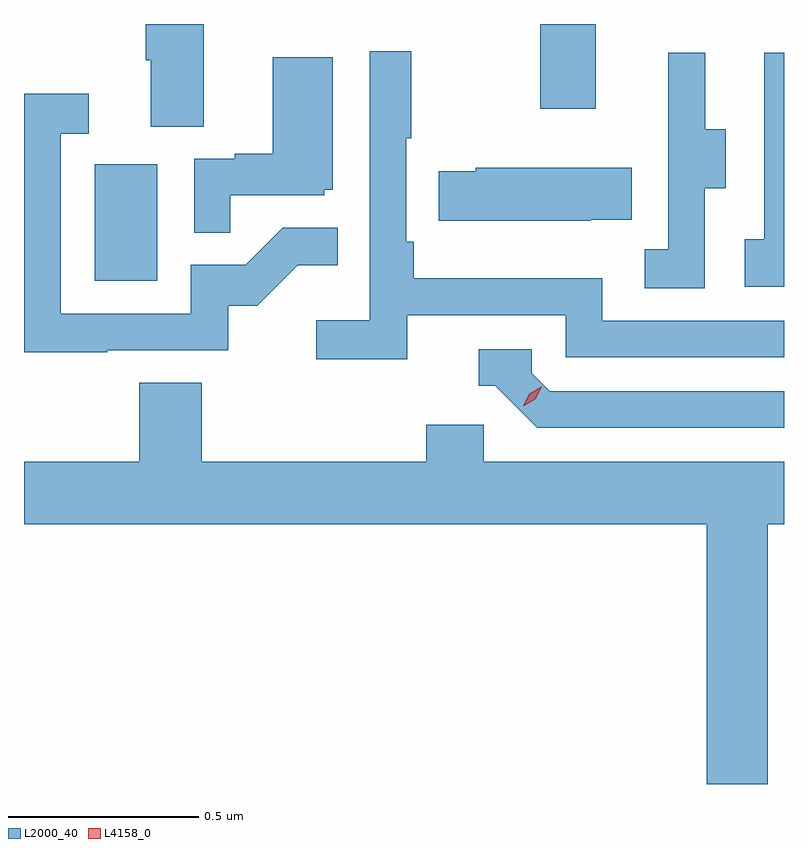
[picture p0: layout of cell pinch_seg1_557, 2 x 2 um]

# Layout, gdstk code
import gdstk
lib = gdstk.Library(unit=1e-6, precision=1e-09)
def R(c, l, rs):  # rectangles x0, y0, x1, y1
    for r in rs: c.add(gdstk.rectangle(r[:2], r[2:], *l))
def P(c, l, *ps):  # polygons
    for p in ps: c.add(gdstk.Polygon(p, *l))
L2000_40 = (2000, 40)
L4158_0 = (4158, 0)

pinch_seg1_557 = lib.new_cell('pinch_seg1_557')
R(pinch_seg1_557, L2000_40, [(1037.114,528.396,1037.278,528.703), (1038.286,528.849,1038.433,529.072)])
P(pinch_seg1_557, L2000_40, [(1037.401,529.072),(1037.249,529.072),(1037.249,528.976),(1037.261,528.976),(1037.261,528.802),(1037.401,528.802)],
  [(1037.936,528.306),(1038.354,528.306),(1038.354,528.195),(1038.928,528.195),(1038.928,528.291),(1038.45,528.291),(1038.45,528.403),(1037.954,528.403),(1037.954,528.499),(1037.934,528.499),(1037.934,528.772),(1037.947,528.772),(1037.947,529),(1037.838,529),(1037.838,528.292),(1037.697,528.292),(1037.697,528.19),(1037.936,528.19)],
  [(1038.72,528.64),(1038.775,528.64),(1038.775,528.795),(1038.721,528.795),(1038.721,528.997),(1038.623,528.997),(1038.623,528.783),(1038.624,528.783),(1038.624,528.479),(1038.561,528.479),(1038.561,528.376),(1038.72,528.376)],
  [(1038.928,528.997),(1038.876,528.997),(1038.876,528.506),(1038.825,528.506),(1038.825,528.381),(1038.928,528.381)],
  [(1037.471,528.621),(1037.718,528.621),(1037.718,528.636),(1037.74,528.636),(1037.74,528.985),(1037.582,528.985),(1037.582,528.73),(1037.483,528.73),(1037.483,528.717),(1037.376,528.717),(1037.376,528.523),(1037.471,528.523)],
  [(1037.147,528.213),(1037.466,528.213),(1037.466,528.33),(1037.542,528.33),(1037.649,528.437),(1037.753,528.437),(1037.753,528.536),(1037.609,528.536),(1037.511,528.438),(1037.367,528.438),(1037.367,528.309),(1037.025,528.309),(1037.025,528.783),(1037.098,528.783),(1037.098,528.889),(1036.928,528.889),(1036.928,528.208),(1037.147,528.208)],
  [(1038.419,528.557),(1038.527,528.557),(1038.527,528.694),(1038.117,528.694),(1038.117,528.684),(1038.019,528.684),(1038.019,528.554),(1038.419,528.554)],
  [(1038.928,528.105),(1038.312,528.105),(1038.264,528.153),(1038.264,528.216),(1038.125,528.216),(1038.125,528.12),(1038.168,528.12),(1038.279,528.009),(1038.928,528.009)],
  [(1038.885,527.756),(1038.928,527.756),(1038.928,527.92),(1038.138,527.92),(1038.138,528.018),(1037.987,528.018),(1037.987,527.92),(1037.396,527.92),(1037.396,528.128),(1037.231,528.128),(1037.231,527.92),(1036.928,527.92),(1036.928,527.756),(1038.725,527.756),(1038.725,527.072),(1038.885,527.072)])
P(pinch_seg1_557, L4158_0, [(1038.242,528.066),(1038.242,528.066),(1038.258,528.099),(1038.289,528.118),(1038.29,528.118),(1038.29,528.117),(1038.273,528.085),(1038.242,528.066)])

lib.write_gds('pinch_seg1_557.gds')
